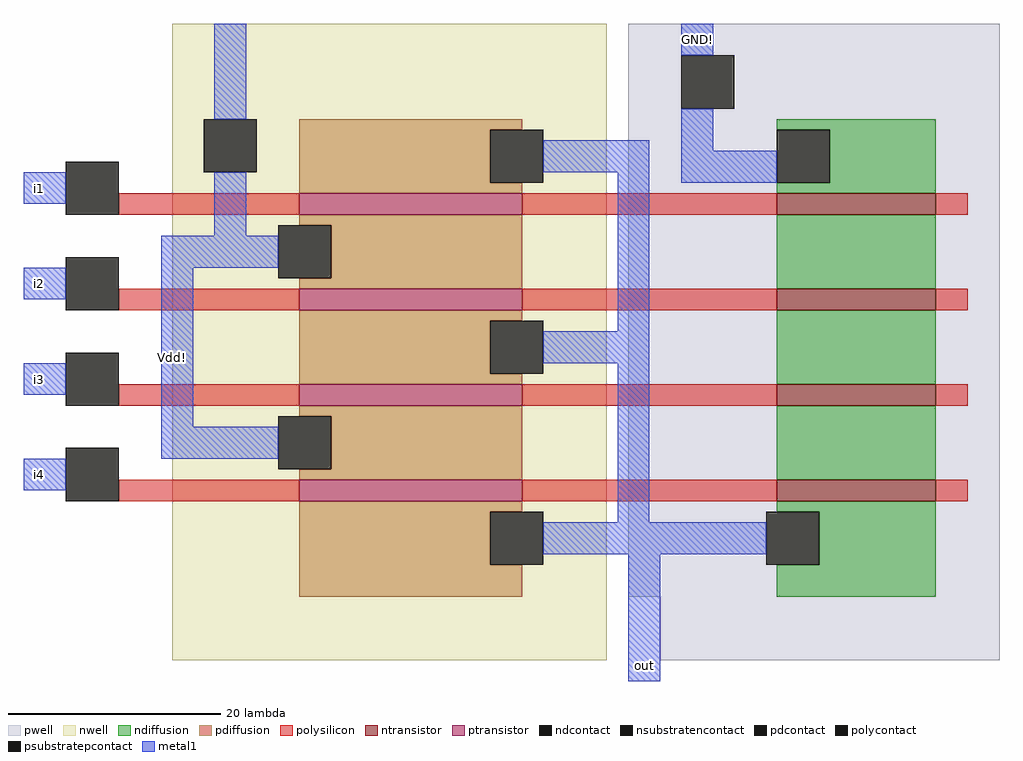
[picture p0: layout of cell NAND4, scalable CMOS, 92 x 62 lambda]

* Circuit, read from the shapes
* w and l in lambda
.subckt NAND4 GND! Vdd! i1 i2 i3 i4 out
M1 n1 i4 out GND! nfet w=15 l=2
M2 n2 i3 n1 GND! nfet w=15 l=2
M3 n3 i2 n2 GND! nfet w=15 l=2
M4 GND! i1 n3 GND! nfet w=15 l=2
M5 Vdd! i4 out Vdd! pfet w=21 l=2
M6 out i3 Vdd! Vdd! pfet w=21 l=2
M7 Vdd! i2 out Vdd! pfet w=21 l=2
M8 out i1 Vdd! Vdd! pfet w=21 l=2
.ends

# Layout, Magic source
magic
tech scmos
<< nwell >>
rect -12 -26 29 34
<< pwell >>
rect 31 -20 66 34
rect 34 -26 66 -20
<< ntransistor >>
rect 45 16 60 18
rect 45 7 60 9
rect 45 -2 60 0
rect 45 -11 60 -9
<< ptransistor >>
rect 0 16 21 18
rect 0 7 21 9
rect 0 -2 21 0
rect 0 -11 21 -9
<< ndiffusion >>
rect 45 24 60 25
rect 50 19 60 24
rect 45 18 60 19
rect 45 9 60 16
rect 45 0 60 7
rect 45 -9 60 -2
rect 45 -12 60 -11
rect 49 -17 60 -12
rect 45 -20 60 -17
<< pdiffusion >>
rect 0 24 21 25
rect 0 19 18 24
rect 0 18 21 19
rect 0 15 21 16
rect 3 10 21 15
rect 0 9 21 10
rect 0 6 21 7
rect 0 1 18 6
rect 0 0 21 1
rect 0 -3 21 -2
rect 3 -8 21 -3
rect 0 -9 21 -8
rect 0 -12 21 -11
rect 0 -17 18 -12
rect 0 -20 21 -17
<< ndcontact >>
rect 45 19 50 24
rect 44 -17 49 -12
<< pdcontact >>
rect 18 19 23 24
rect -2 10 3 15
rect 18 1 23 6
rect -2 -8 3 -3
rect 18 -17 23 -12
<< psubstratepcontact >>
rect 36 26 41 31
<< nsubstratencontact >>
rect -9 20 -4 25
<< polysilicon >>
rect -17 16 0 18
rect 21 16 45 18
rect 60 16 63 18
rect -17 7 0 9
rect 21 7 45 9
rect 60 7 63 9
rect -17 -2 0 0
rect 21 -2 45 0
rect 60 -2 63 0
rect -17 -11 0 -9
rect 21 -11 45 -9
rect 60 -11 63 -9
<< polycontact >>
rect -22 16 -17 21
rect -22 7 -17 12
rect -22 -2 -17 3
rect -22 -11 -17 -6
<< metal1 >>
rect -8 25 -5 34
rect 36 31 39 34
rect -26 17 -22 20
rect -8 14 -5 20
rect 23 20 33 23
rect -26 8 -22 11
rect -13 11 -2 14
rect -26 -1 -22 2
rect -13 -4 -10 11
rect 30 5 33 20
rect 36 22 39 26
rect 36 19 45 22
rect 23 2 33 5
rect -26 -10 -22 -7
rect -13 -7 -2 -4
rect 30 -13 33 2
rect 23 -16 44 -13
rect 31 -28 34 -16
<< labels >>
rlabel metal1 -13 2 -11 3 3 Vdd!
rlabel metal1 32 -27 33 -26 1 out
rlabel metal1 -25 18 -24 19 3 i1
rlabel metal1 -25 9 -24 10 3 i2
rlabel metal1 -25 0 -24 1 3 i3
rlabel metal1 -25 -9 -24 -8 3 i4
rlabel metal1 37 32 38 33 5 GND!
<< end >>
